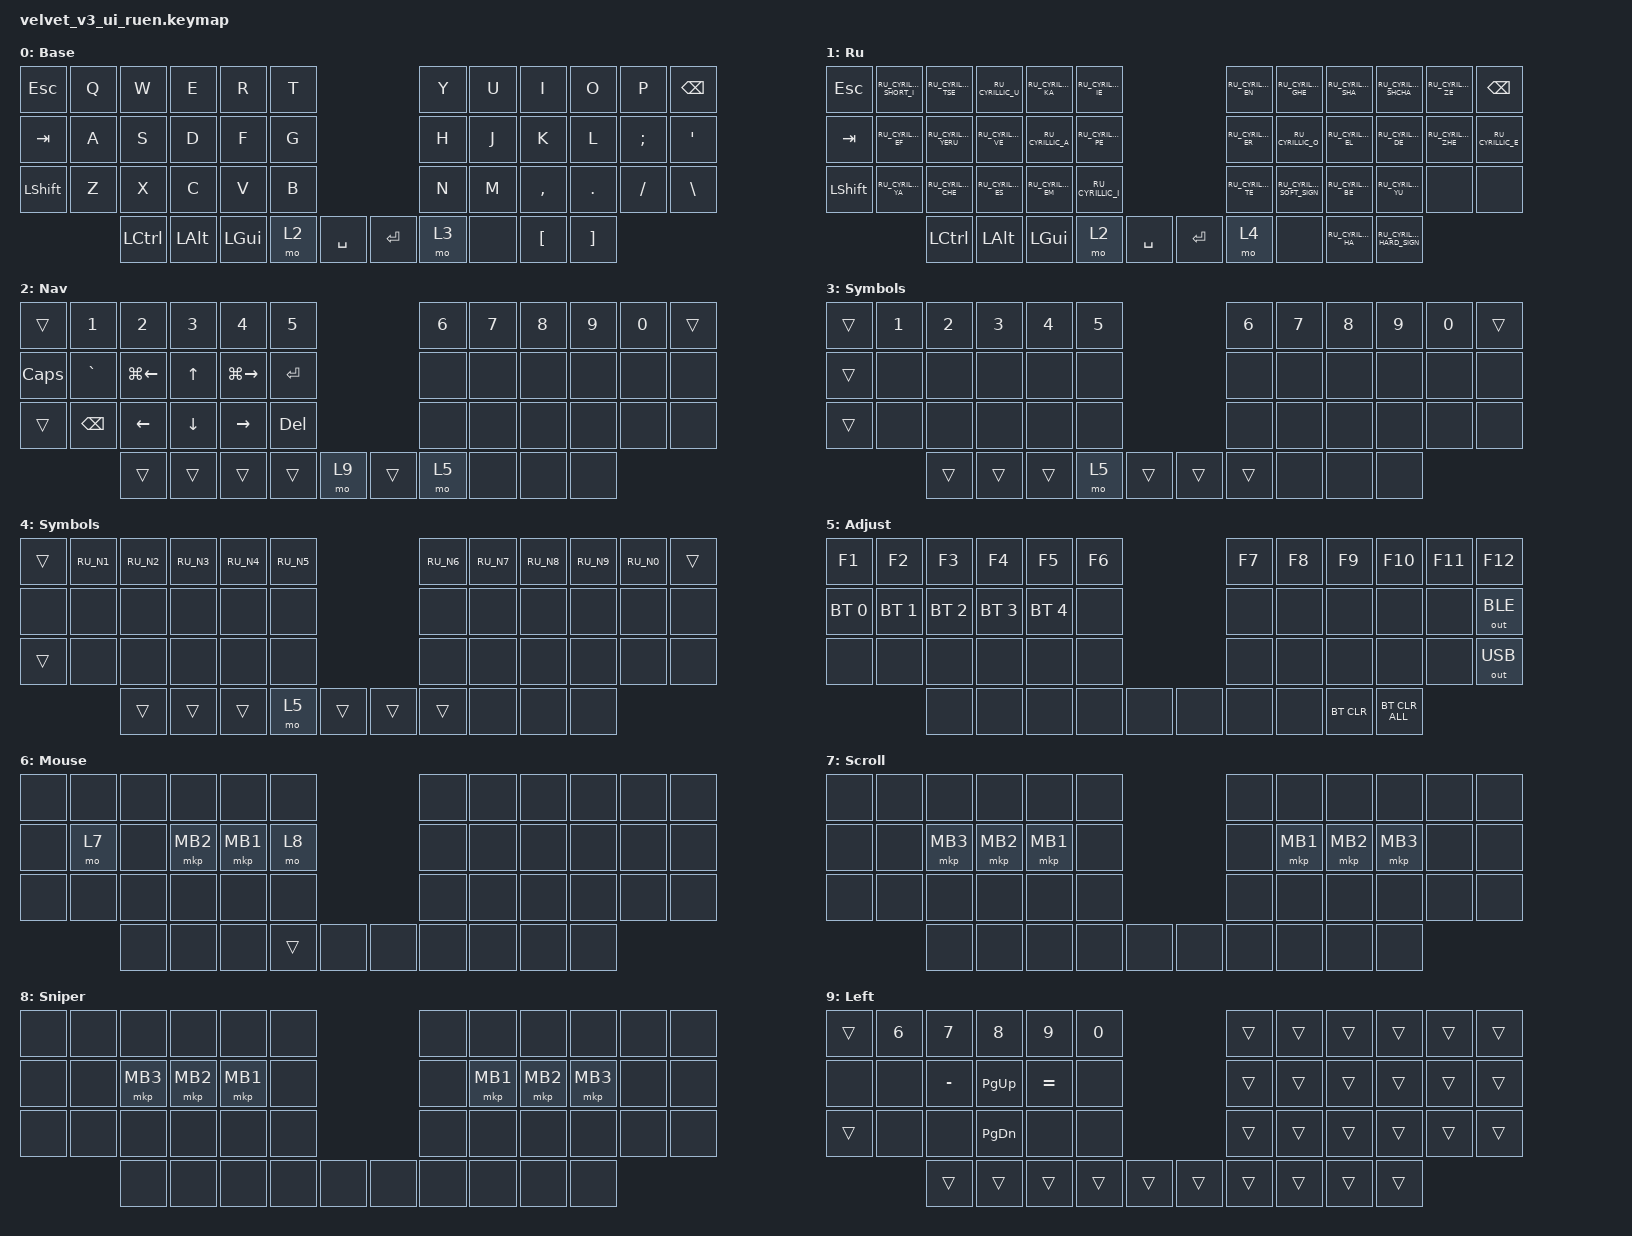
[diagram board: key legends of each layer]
#include "keys_ru.h"
#include <dt-bindings/zmk/input_transform.h>
#include <input/processors.dtsi>
#include <zephyr/dt-bindings/input/input-event-codes.h>
#include <behaviors.dtsi>
#include <dt-bindings/zmk/bt.h>
#include <dt-bindings/zmk/keys.h>
#include <dt-bindings/zmk/outputs.h>
#include <dt-bindings/zmk/pointing.h>

/ {
    behaviors {
        cap_sen: cap_sen {
            compatible = "zmk,behavior-hold-tap";
            label = "CAP_SEN";
            bindings = <&mo>, <&mkp>;

            #binding-cells = <2>;
            tapping-term-ms = <150>;
            hold-while-undecided;
        };

        mouse_layer: mouse_layer {
            compatible = "zmk,behavior-sticky-key";
            label = "MOUSE_LAYER";
            bindings = <&mo>;
            #binding-cells = <1>;
            release-after-ms = <200>;
        };

        zip_auto_mouse: zip_auto_mouse {
            compatible = "zmk,input-processor-temp-layer";
            #input-processor-cells = <2>;
            require-prior-idle-ms = <800>;
            excluded-positions = <>;
        };
    };

    combos {
        compatible = "zmk,combos";

        cmben {
            bindings = <&layer_en>;
            key-positions = <3 4>;
            layers = <1>;
        };

        cmbru {
            bindings = <&layer_ru>;
            key-positions = <3 4>;
            layers = <0>;
        };
    };

    macros {
        to_ru: to_ru {
            compatible = "zmk,behavior-macro";
            #binding-cells = <0>;
            bindings = <&kp LS(LC(N2))>;
            label = "TO_RU";
            wait-ms = <0>;
            tap-ms = <30>;
        };

        to_en: to_en {
            compatible = "zmk,behavior-macro";
            #binding-cells = <0>;
            bindings = <&kp LS(LC(N1))>;
            label = "TO_EN";
            wait-ms = <0>;
            tap-ms = <30>;
        };

        layer_en: layer_en {
            compatible = "zmk,behavior-macro";
            #binding-cells = <0>;
            bindings = <&to 0 &to_en>;
            label = "LAYER_EN";
            wait-ms = <0>;
            tap-ms = <30>;
        };

        layer_ru: layer_ru {
            compatible = "zmk,behavior-macro";
            #binding-cells = <0>;
            bindings = <&to 1 &to_ru>;
            label = "LAYER_RU";
            tap-ms = <30>;
            wait-ms = <0>;
        };

        en: en {
            compatible = "zmk,behavior-macro-one-param";
            #binding-cells = <1>;
            bindings =
                <&to_en>,
                <&macro_press>,
                <&macro_param_1to1 &kp MACRO_PLACEHOLDER>,
                <&macro_pause_for_release>,
                <&macro_release>,
                <&macro_param_1to1 &kp MACRO_PLACEHOLDER>,
                <&macro_tap>,
                <&to_ru>;

            label = "EN";
            wait-ms = <0>;
            tap-ms = <30>;
        };
    };

    keymap {
        compatible = "zmk,keymap";

        en {
            bindings = <
&kp ESC    &kp Q  &kp W      &kp E     &kp R     &kp T                        &kp Y  &kp U  &kp I      &kp O     &kp P     &kp BSPC
&kp TAB    &kp A  &kp S      &kp D     &kp F     &kp G                        &kp H  &kp J  &kp K      &kp L     &kp SEMI  &kp SQT
&kp LSHFT  &kp Z  &kp X      &kp C     &kp V     &kp B                        &kp N  &kp M  &kp COMMA  &kp DOT   &kp FSLH  &kp BACKSLASH
                  &kp LCTRL  &kp LALT  &kp LGUI  &mo 2  &kp SPACE    &kp RET  &mo 3  &none  &kp LBKT   &kp RBKT
            >;

            display-name = "Base";
        };

        ru {
            display-name = "Ru";
            bindings = <
&kp ESC    &kp RU_CYRILLIC_SHORT_I  &kp RU_CYRILLIC_TSE   &kp RU_CYRILLIC_U   &kp RU_CYRILLIC_KA  &kp RU_CYRILLIC_IE                        &kp RU_CYRILLIC_EN  &kp RU_CYRILLIC_GHE        &kp RU_CYRILLIC_SHA  &kp RU_CYRILLIC_SHCHA      &kp RU_CYRILLIC_ZE   &kp BSPC
&kp TAB    &kp RU_CYRILLIC_EF       &kp RU_CYRILLIC_YERU  &kp RU_CYRILLIC_VE  &kp RU_CYRILLIC_A   &kp RU_CYRILLIC_PE                        &kp RU_CYRILLIC_ER  &kp RU_CYRILLIC_O          &kp RU_CYRILLIC_EL   &kp RU_CYRILLIC_DE         &kp RU_CYRILLIC_ZHE  &kp RU_CYRILLIC_E
&kp LSHFT  &kp RU_CYRILLIC_YA       &kp RU_CYRILLIC_CHE   &kp RU_CYRILLIC_ES  &kp RU_CYRILLIC_EM  &kp RU_CYRILLIC_I                         &kp RU_CYRILLIC_TE  &kp RU_CYRILLIC_SOFT_SIGN  &kp RU_CYRILLIC_BE   &kp RU_CYRILLIC_YU         &none                &none
                                    &kp LCTRL             &kp LALT            &kp LGUI            &mo 2               &kp SPACE    &kp RET  &mo 4               &none                      &kp RU_CYRILLIC_HA   &kp RU_CYRILLIC_HARD_SIGN
            >;
        };

        nav {
            bindings = <
&trans        &kp N1         &kp N2              &kp N3          &kp N4               &kp N5                       &kp N6  &kp N7  &kp N8  &kp N9  &kp N0  &trans
&kp CAPSLOCK  &kp GRAVE      &kp LG(LEFT_ARROW)  &kp UP_ARROW    &kp LG(RIGHT_ARROW)  &kp ENTER                    &none   &none   &none   &none   &none   &none
&trans        &kp BACKSPACE  &kp LEFT_ARROW      &kp DOWN_ARROW  &kp RIGHT_ARROW      &kp DELETE                   &none   &none   &none   &none   &none   &none
                             &trans              &trans          &trans               &trans      &mo 9    &trans  &mo 5   &none   &none   &none
            >;

            display-name = "Nav";
        };

        sym_en {
            bindings = <
&trans  &kp N1  &kp N2  &kp NUMBER_3  &kp NUMBER_4  &kp NUMBER_5                    &kp N6  &kp N7  &kp N8  &kp N9  &kp N0  &trans
&trans  &none   &none   &none         &none         &none                           &none   &none   &none   &none   &none   &none
&trans  &none   &none   &none         &none         &none                           &none   &none   &none   &none   &none   &none
                &trans  &trans        &trans        &mo 5         &trans    &trans  &trans  &none   &none   &none
            >;

            display-name = "Symbols";
        };

        sym_ru {
            display-name = "Symbols";
            bindings = <
&trans  &kp RU_N1  &kp RU_N2  &kp RU_N3  &kp RU_N4  &kp RU_N5                    &kp RU_N6  &kp RU_N7  &kp RU_N8  &kp RU_N9  &kp RU_N0  &trans
&none   &none      &none      &none      &none      &none                        &none      &none      &none      &none      &none      &none
&trans  &none      &none      &none      &none      &none                        &none      &none      &none      &none      &none      &none
                   &trans     &trans     &trans     &mo 5      &trans    &trans  &trans     &none      &none      &none
            >;
        };

        adj {
            bindings = <
&kp F1        &kp F2        &kp F3        &kp F4        &kp F5        &kp F6                  &kp F7  &kp F8  &kp F9      &kp F10         &kp F11  &kp F12
&bt BT_SEL 0  &bt BT_SEL 1  &bt BT_SEL 2  &bt BT_SEL 3  &bt BT_SEL 4  &none                   &none   &none   &none       &none           &none    &out OUT_BLE
&none         &none         &none         &none         &none         &none                   &none   &none   &none       &none           &none    &out OUT_USB
                            &none         &none         &none         &none   &none    &none  &none   &none   &bt BT_CLR  &bt BT_CLR_ALL
            >;

            display-name = "Adjust";
        };

        mouse {
            bindings = <
&none  &none  &none  &none     &none     &none                   &none  &none  &none  &none  &none  &none
&none  &mo 7  &none  &mkp MB2  &mkp MB1  &mo 8                   &none  &none  &none  &none  &none  &none
&none  &none  &none  &none     &none     &none                   &none  &none  &none  &none  &none  &none
              &none  &none     &none     &trans  &none    &none  &none  &none  &none  &none
            >;

            display-name = "Mouse";
        };

        scroll {
            bindings = <
&none  &none  &none     &none     &none     &none                  &none  &none     &none     &none     &none  &none
&none  &none  &mkp MB3  &mkp MB2  &mkp MB1  &none                  &none  &mkp MB1  &mkp MB2  &mkp MB3  &none  &none
&none  &none  &none     &none     &none     &none                  &none  &none     &none     &none     &none  &none
              &none     &none     &none     &none  &none    &none  &none  &none     &none     &none
            >;

            display-name = "Scroll";
        };

        sniper {
            bindings = <
&none  &none  &none     &none     &none     &none                  &none  &none     &none     &none     &none  &none
&none  &none  &mkp MB3  &mkp MB2  &mkp MB1  &none                  &none  &mkp MB1  &mkp MB2  &mkp MB3  &none  &none
&none  &none  &none     &none     &none     &none                  &none  &none     &none     &none     &none  &none
              &none     &none     &none     &none  &none    &none  &none  &none     &none     &none
            >;

            display-name = "Sniper";
        };

        Left {
            bindings = <
&trans  &kp N6  &kp N7     &kp N8         &kp N9     &kp N0                    &trans  &trans  &trans  &trans  &trans  &trans
&none   &none   &kp MINUS  &kp PAGE_UP    &kp EQUAL  &none                     &trans  &trans  &trans  &trans  &trans  &trans
&trans  &none   &none      &kp PAGE_DOWN  &none      &none                     &trans  &trans  &trans  &trans  &trans  &trans
                &trans     &trans         &trans     &trans  &trans    &trans  &trans  &trans  &trans  &trans
            >;
        };
    };
};

&trackball { cpi = <1000>; };

&trackball_listener {
    input-processors = <&zip_auto_mouse 6 500>, <&zip_xy_scaler 9 20>;

    scroller {
        layers = <7>;
        input-processors =
            <&zip_xy_transform INPUT_TRANSFORM_Y_INVERT>,
            <&zip_xy_scaler 1 32>,
            <&zip_xy_to_scroll_mapper>;
    };

    sniper {
        layers = <8>;
        input-processors = <&zip_xy_scaler 1 4>;
    };
};
